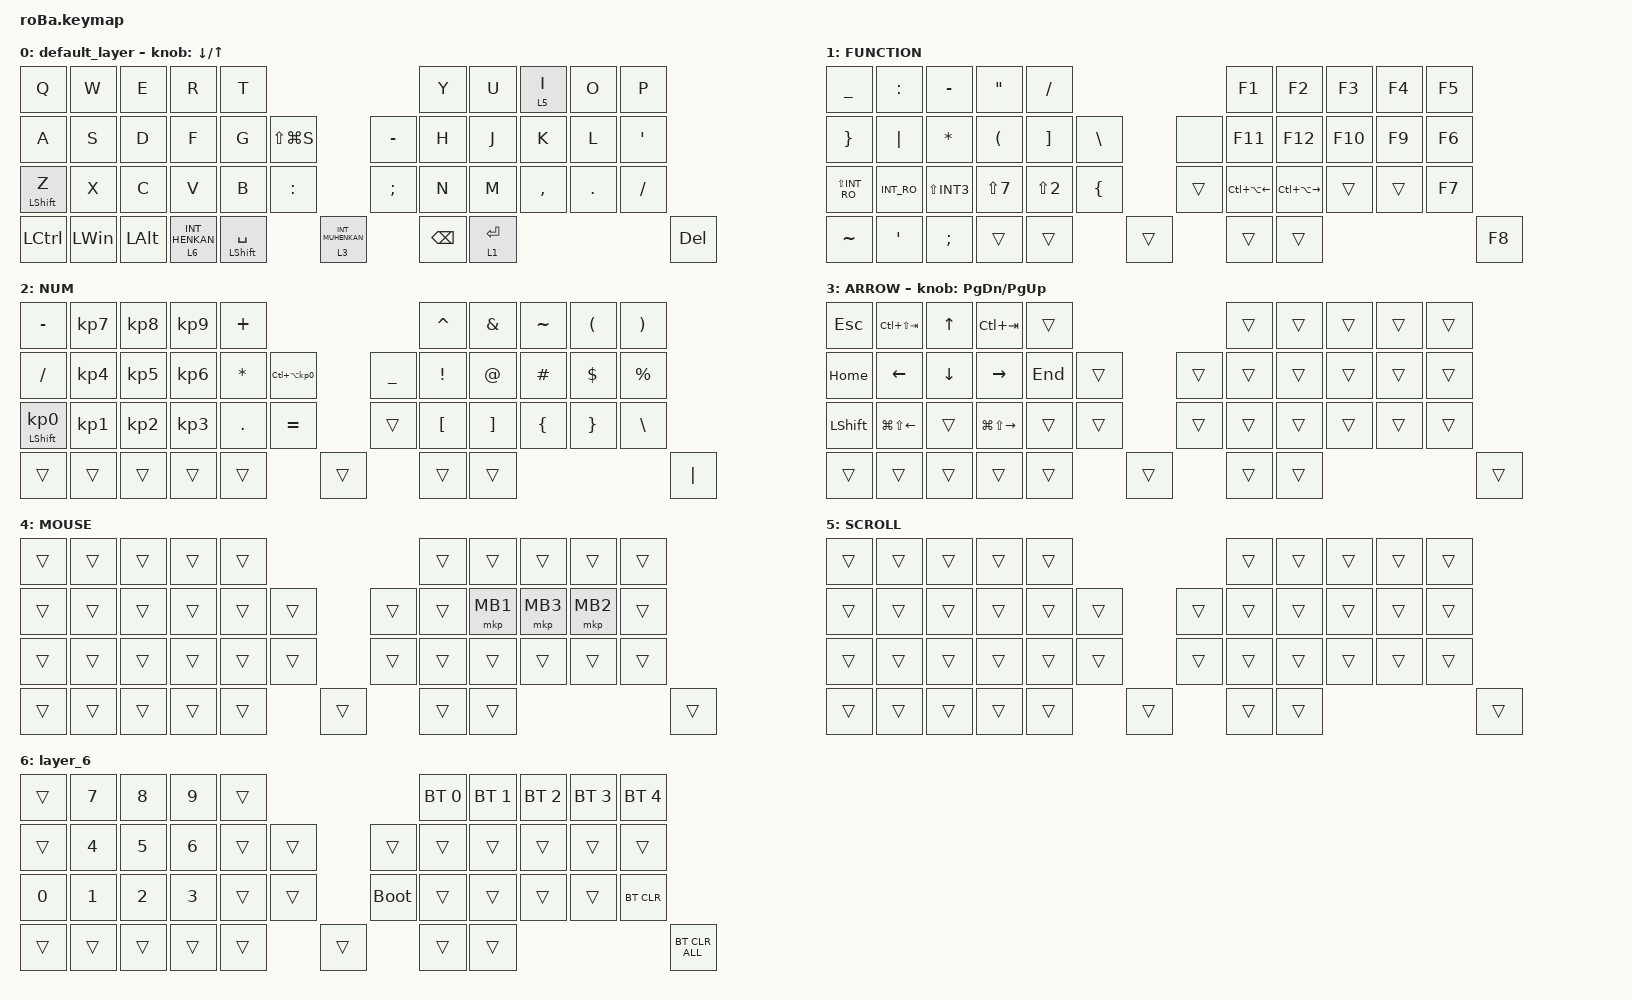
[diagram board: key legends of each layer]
#include <behaviors.dtsi>
#include <dt-bindings/zmk/bt.h>
#include <dt-bindings/zmk/keys.h>
#include <dt-bindings/zmk/pointing.h>

&mt {
    flavor = "balanced";
    quick-tap-ms = <0>;
};

&trackball {
    automouse-layer = <4>;
    scroll-layers = <5>;

    // arrows {
    //     layers = <3>;
    //     bindings =
    //         <&kp RIGHT_ARROW>,
    //         <&kp LEFT_ARROW>,
    //         <&kp UP_ARROW>,
    //         <&kp DOWN_ARROW>;
    //     tick = <10>;
    //     wait-ms = <5>;
    //     tap-ms = <5>;
    // };
};

/ {
    combos {
        compatible = "zmk,combos";

        tab {
            bindings = <&kp TAB>;
            key-positions = <11 12>;
        };

        shift_tab {
            bindings = <&kp LS(TAB)>;
            key-positions = <12 13>;
        };

        muhennkann {
            bindings = <&to_layer_0 INT_MUHENKAN>;
            key-positions = <11 10>;
        };

        double_quotation {
            bindings = <&kp DOUBLE_QUOTES>;
            key-positions = <20 21>;
        };

        eq {
            bindings = <&kp EQUAL>;
            key-positions = <24 25>;
        };
    };

    macros {
        to_layer_0: to_layer_0 {
            compatible = "zmk,behavior-macro-one-param";
            #binding-cells = <1>;
            bindings = <&to 0 &macro_param_1to1 &kp MACRO_PLACEHOLDER>;
            label = "TO_LAYER_0";
        };
    };

    behaviors {
        lt_to_layer_0: lt_to_layer_0 {
            compatible = "zmk,behavior-hold-tap";
            label = "LAYER_TAP_TO_0";
            bindings = <&mo>, <&to_layer_0>;

            #binding-cells = <2>;
            tapping-term-ms = <200>;
        };
    };

    keymap {
        compatible = "zmk,keymap";

        default_layer {
            bindings = <
&kp Q             &kp W         &kp E         &kp R                        &kp T                                                          &kp Y        &kp U  &lt 5 I    &kp O    &kp P
&kp A             &kp S         &kp D         &kp F                        &kp G        &kp LS(LG(S))                      &kp MINUS      &kp H        &kp J  &kp K      &kp L    &kp SQT
&mt LEFT_SHIFT Z  &kp X         &kp C         &kp V                        &kp B        &kp COLON                          &kp SEMICOLON  &kp N        &kp M  &kp COMMA  &kp DOT  &kp SLASH
&kp LCTRL         &kp LEFT_WIN  &kp LEFT_ALT  &lt_to_layer_0 6 INT_HENKAN  &mt LEFT_SHIFT SPACE  &lt_to_layer_0 3 INT_MUHENKAN      &kp BACKSPACE  &lt 1 ENTER                             &kp DEL
            >;

            sensor-bindings = <&inc_dec_kp DOWN UP>;
        };

        FUNCTION {
            bindings = <
&kp UNDERSCORE   &kp COLON        &kp MINUS      &kp DOUBLE_QUOTES      &kp SLASH                               &kp F1   &kp F2                  &kp F3                  &kp F4   &kp F5
&kp RIGHT_BRACE  &kp PIPE         &kp ASTERISK   &kp LEFT_PARENTHESIS   &kp RIGHT_BRACKET  &kp BACKSLASH          &none    &kp F11                 &kp F12                 &kp F10  &kp F9  &kp F6
&kp LS(INT_RO)   &kp INT_RO       &kp LS(INT3)   &kp LS(NUMBER_7)       &kp LS(NUMBER_2)  &kp LEFT_BRACE         &trans   &kp LC(LA(LEFT_ARROW))  &kp LC(LA(RIGHT_ARROW))  &trans   &trans  &kp F7
&kp TILDE        &kp SQT          &kp SEMICOLON  &trans                 &trans            &trans                 &trans   &trans                                      &kp F8
            >;
        };

        NUM {
            bindings = <
&kp MINUS                   &kp KP_NUMBER_7  &kp KP_NUMBER_8  &kp KP_NUMBER_9  &kp PLUS                                                   &kp CARET         &kp AMPERSAND      &kp TILDE       &kp LEFT_PARENTHESIS  &kp RIGHT_PARENTHESIS
&kp SLASH                   &kp KP_NUMBER_4  &kp KP_NUMBER_5  &kp KP_NUMBER_6  &kp ASTERISK  &kp LC(LA(KP_NUMBER_0))      &kp UNDERSCORE  &kp EXCLAMATION   &kp AT_SIGN        &kp HASH        &kp DOLLAR            &kp PERCENT
&mt LEFT_SHIFT KP_NUMBER_0  &kp KP_NUMBER_1  &kp KP_NUMBER_2  &kp KP_NUMBER_3  &kp PERIOD    &kp EQUAL                    &trans          &kp LEFT_BRACKET  &kp RIGHT_BRACKET  &kp LEFT_BRACE  &kp RIGHT_BRACE       &kp BACKSLASH
&trans                      &trans           &trans           &trans           &trans        &trans                       &trans          &trans                                                                     &kp PIPE
            >;
        };

        ARROW {
            bindings = <
&kp ESCAPE      &kp LC(LS(TAB))         &kp UP_ARROW    &kp LC(TAB)              &trans                       &trans  &trans  &trans  &trans  &trans
&kp HOME        &kp LEFT_ARROW          &kp DOWN_ARROW  &kp RIGHT_ARROW          &kp END  &trans      &trans  &trans  &trans  &trans  &trans  &trans
&kp LEFT_SHIFT  &kp LG(LS(LEFT_ARROW))  &trans          &kp LG(LS(RIGHT_ARROW))  &trans   &trans      &trans  &trans  &trans  &trans  &trans  &trans
&trans          &trans                  &trans          &trans                   &trans   &trans      &trans  &trans                          &trans
            >;

            sensor-bindings = <&inc_dec_kp PAGE_DOWN PG_UP>;
        };

        MOUSE {
            bindings = <
&trans  &trans  &trans  &trans  &trans                      &trans  &trans    &trans    &trans    &trans
&trans  &trans  &trans  &trans  &trans  &trans      &trans  &trans  &mkp MB1  &mkp MB3  &mkp MB2  &trans
&trans  &trans  &trans  &trans  &trans  &trans      &trans  &trans  &trans    &trans    &trans    &trans
&trans  &trans  &trans  &trans  &trans  &trans      &trans  &trans                                &trans
            >;
        };

        SCROLL {
            bindings = <
&trans  &trans  &trans  &trans  &trans                      &trans  &trans  &trans  &trans  &trans
&trans  &trans  &trans  &trans  &trans  &trans      &trans  &trans  &trans  &trans  &trans  &trans
&trans  &trans  &trans  &trans  &trans  &trans      &trans  &trans  &trans  &trans  &trans  &trans
&trans  &trans  &trans  &trans  &trans  &trans      &trans  &trans                          &trans
            >;
        };

        layer_6 {
            bindings = <
&trans        &kp NUMBER_7  &kp NUMBER_8  &kp NUMBER_9  &trans                           &bt BT_SEL 0  &bt BT_SEL 1  &bt BT_SEL 2  &bt BT_SEL 3  &bt BT_SEL 4
&trans        &kp NUMBER_4  &kp NUMBER_5  &kp NUMBER_6  &trans  &trans      &trans       &trans        &trans        &trans        &trans        &trans
&kp NUMBER_0  &kp NUMBER_1  &kp NUMBER_2  &kp NUMBER_3  &trans  &trans      &bootloader  &trans        &trans        &trans        &trans        &bt BT_CLR
&trans        &trans        &trans        &trans        &trans  &trans      &trans       &trans                                                  &bt BT_CLR_ALL
            >;
        };
    };
};
